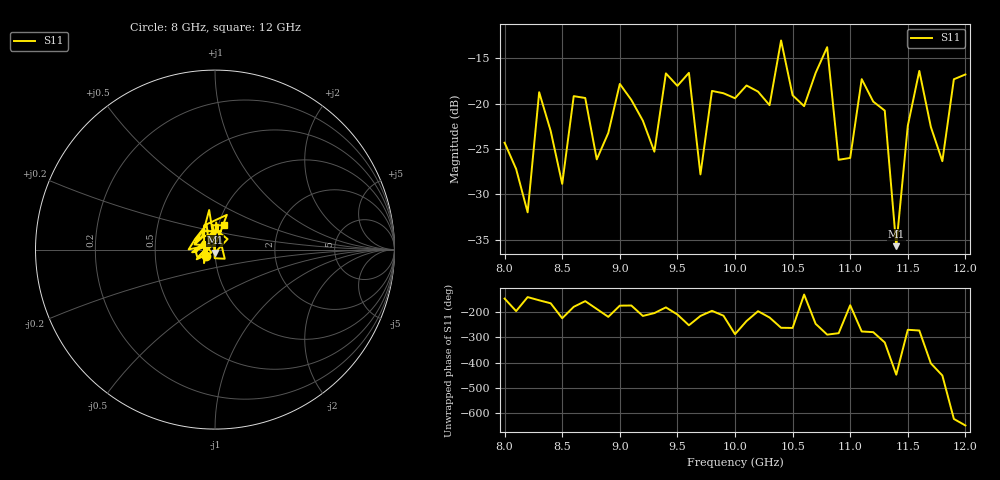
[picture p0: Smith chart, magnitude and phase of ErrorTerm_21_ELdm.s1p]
!  1-Port S-parameters saved by WinCal
! VAR NAME=2-Port SOLT labuser 2
! VAR Error Term Name=ELdm phys rcv port 2 phys src port 1
# Hz S RI R 50
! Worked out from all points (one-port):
!   41 points, 8 GHz to 12 GHz, reference 50 ohm
!   lowest |S11| = -35.7 dB at 11.4 GHz (marker M1), VSWR 1.03, Z = 50 - j1.63 ohm
!   |S11| at or under -10 dB: start of sweep to end of sweep
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8e9  -0.05 -0.0346
8.2e9  -0.019 -0.0164
8.3e9  -0.1021 -0.0541
8.5e9  -0.0261 0.0249
8.6e9  -0.1098 -0.00366
8.8e9  -0.0489 0.00573
9e9  -0.1275 -0.0147
9.3e9  -0.0499 0.0213
9.4e9  -0.1468 0.000838
9.5e9  -0.1098 0.0602
9.6e9  -0.0467 0.1402
9.7e9  -0.0335 0.023
9.8e9  -0.1139 0.0285
1e10  0.0314 0.1023
1.03e10  -0.0743 0.0639
1.04e10  -0.0325 0.2205
1.05e10  -0.015 0.1101
1.06e10  -0.0611 -0.075
1.08e10  0.0661 0.1937
1.09e10  0.0111 0.0477
1.1e10  -0.0496 -0.00725
1.11e10  0.015 0.1355
1.13e10  0.0701 0.0587
1.14e10  0.000406 -0.0163
1.15e10  -0.000586 0.0754
1.16e10  0.00664 0.1513
1.18e10  -0.00148 -0.0481
1.2e10  0.0515 0.1353
